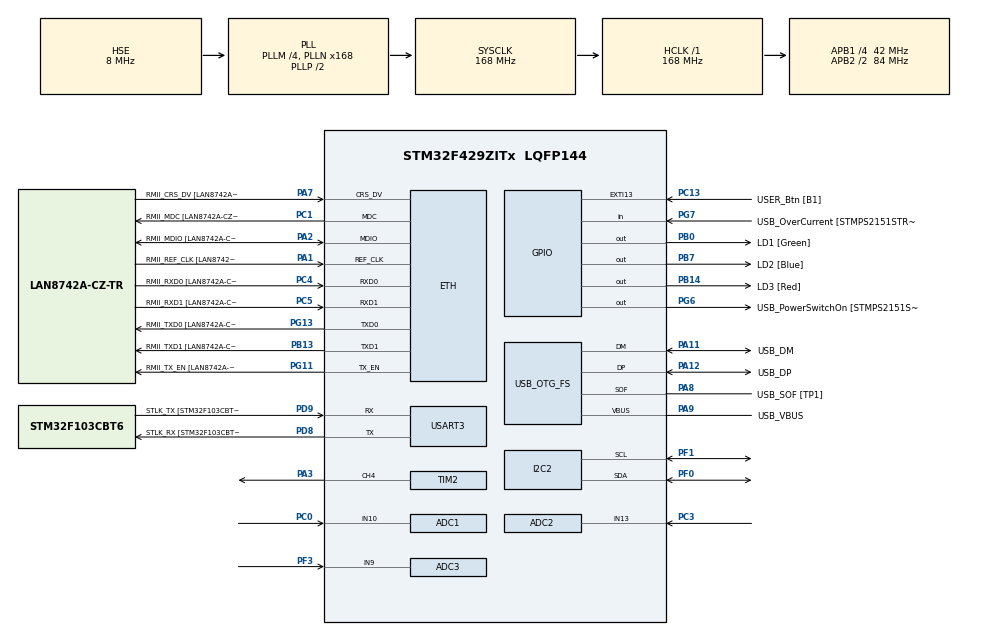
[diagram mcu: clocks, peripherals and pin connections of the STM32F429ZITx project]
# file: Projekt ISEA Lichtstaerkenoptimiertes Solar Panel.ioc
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ADC1.Channel-2\#ChannelRegularConversion=ADC_CHANNEL_10
ADC1.NbrOfConversionFlag=1
ADC1.Rank-2\#ChannelRegularConversion=1
ADC1.SamplingTime-2\#ChannelRegularConversion=ADC_SAMPLETIME_3CYCLES
ADC1.master=1
ADC2.Channel-0\#ChannelRegularConversion=ADC_CHANNEL_13
ADC2.NbrOfConversionFlag=1
ADC2.Rank-0\#ChannelRegularConversion=1
ADC2.SamplingTime-0\#ChannelRegularConversion=ADC_SAMPLETIME_3CYCLES
ADC3.Channel-1\#ChannelRegularConversion=ADC_CHANNEL_9
ADC3.NbrOfConversionFlag=1
ADC3.Rank-1\#ChannelRegularConversion=1
ADC3.SamplingTime-1\#ChannelRegularConversion=ADC_SAMPLETIME_3CYCLES
ETH.MediaInterface=HAL_ETH_RMII_MODE
ETH.PHY_Name=LAN8742A_PHY_ADDRESS
ETH.PHY_Value=0
ETH.PhyAddress=0
Mcu.Family=STM32F4
Mcu.Name=STM32F429ZITx
Mcu.Package=LQFP144
NVIC.PriorityGroup=NVIC_PRIORITYGROUP_4
PA1.GPIO_Label=RMII_REF_CLK [LAN8742A-CZ-TR_REFCLK0]
PA1.Mode=RMII
PA1.Signal=ETH_REF_CLK
PA10.GPIO_Label=USB_ID
PA10.Signal=USB_OTG_FS_ID
PA11.GPIO_Label=USB_DM
PA11.Mode=Device_Only
PA11.Signal=USB_OTG_FS_DM
PA12.GPIO_Label=USB_DP
PA12.Mode=Device_Only
PA12.Signal=USB_OTG_FS_DP
PA13.GPIO_Label=TMS
PA13.Mode=Serial_Wire
PA13.Signal=SYS_JTMS-SWDIO
PA14.GPIO_Label=TCK
PA14.Mode=Serial_Wire
PA14.Signal=SYS_JTCK-SWCLK
PA2.GPIO_Label=RMII_MDIO [LAN8742A-CZ-TR_MDIO]
PA2.Mode=RMII
PA2.Signal=ETH_MDIO
PA3.Signal=S_TIM2_CH4
PA7.GPIO_Label=RMII_CRS_DV [LAN8742A-CZ-TR_CRS_DV]
PA7.Mode=RMII
PA7.Signal=ETH_CRS_DV
PA8.GPIO_Label=USB_SOF [TP1]
PA8.Mode=Activate_SOF_FS
PA8.Signal=USB_OTG_FS_SOF
PA9.GPIO_Label=USB_VBUS
PA9.Mode=Activate_VBUS
PA9.Signal=USB_OTG_FS_VBUS
PB0.GPIO_Label=LD1 [Green]
PB0.Signal=GPIO_Output
PB13.GPIO_Label=RMII_TXD1 [LAN8742A-CZ-TR_TXD1]
PB13.Mode=RMII
PB13.Signal=ETH_TXD1
PB14.GPIO_Label=LD3 [Red]
PB14.Signal=GPIO_Output
PB7.GPIO_Label=LD2 [Blue]
PB7.Signal=GPIO_Output
PC0.Signal=ADCx_IN10
PC1.GPIO_Label=RMII_MDC [LAN8742A-CZ-TR_MDC]
PC1.Mode=RMII
PC1.Signal=ETH_MDC
PC13.GPIO_Label=USER_Btn [B1]
PC13.Signal=GPXTI13
PC14/OSC32_IN.Mode=LSE-External-Oscillator
PC14/OSC32_IN.Signal=RCC_OSC32_IN
PC15/OSC32_OUT.Mode=LSE-External-Oscillator
PC15/OSC32_OUT.Signal=RCC_OSC32_OUT
PC3.Signal=ADCx_IN13
PC4.GPIO_Label=RMII_RXD0 [LAN8742A-CZ-TR_RXD0]
PC4.Mode=RMII
PC4.Signal=ETH_RXD0
PC5.GPIO_Label=RMII_RXD1 [LAN8742A-CZ-TR_RXD1]
PC5.Mode=RMII
PC5.Signal=ETH_RXD1
PD8.GPIO_Label=STLK_RX [STM32F103CBT6_PA3]
PD8.Mode=Asynchronous
PD8.Signal=USART3_TX
PD9.GPIO_Label=STLK_TX [STM32F103CBT6_PA2]
PD9.Mode=Asynchronous
PD9.Signal=USART3_RX
PF0.Mode=I2C
PF0.Signal=I2C2_SDA
PF1.Mode=I2C
PF1.Signal=I2C2_SCL
PF3.Mode=IN9
PF3.Signal=ADC3_IN9
PG11.GPIO_Label=RMII_TX_EN [LAN8742A-CZ-TR_TXEN]
PG11.Mode=RMII
PG11.Signal=ETH_TX_EN
PG13.GPIO_Label=RMII_TXD0 [LAN8742A-CZ-TR_TXD0]
PG13.Mode=RMII
PG13.Signal=ETH_TXD0
PG6.GPIO_Label=USB_PowerSwitchOn [STMPS2151STR_EN]
PG6.Signal=GPIO_Output
PG7.GPIO_Label=USB_OverCurrent [STMPS2151STR_FAULT]
PG7.Signal=GPIO_Input
PH0/OSC_IN.GPIO_Label=MCO [STM32F103CBT6_PA8]
PH0/OSC_IN.Mode=HSE-External-Clock-Source
PH0/OSC_IN.Signal=RCC_OSC_IN
PH1/OSC_OUT.Mode=HSE-External-Clock-Source
PH1/OSC_OUT.Signal=RCC_OSC_OUT
ProjectManager.HeapSize=0x200
ProjectManager.StackSize=0x400
ProjectManager.TargetToolchain=STM32CubeIDE
RCC.48MHZClocksFreq_Value=48000000
RCC.AHBFreq_Value=168000000
RCC.APB1CLKDivider=RCC_HCLK_DIV4
RCC.APB1Freq_Value=42000000
RCC.APB1TimFreq_Value=84000000
RCC.APB2CLKDivider=RCC_HCLK_DIV2
RCC.APB2Freq_Value=84000000
RCC.APB2TimCLKDivider=2
RCC.APB2TimFreq_Value=168000000
RCC.CortexFreq_Value=168000000
RCC.HCLKFreq_Value=168000000
RCC.HSE_VALUE=8000000
RCC.HSI_VALUE=16000000
RCC.PLLM=4
RCC.PLLMUL=RCC_PLL_MUL9
RCC.PLLN=168
RCC.PLLQ=7
RCC.PRESCALERUSB=RCC_USBCLKSOURCE_PLL_DIV1_5
RCC.SYSCLKFreq_VALUE=168000000
RCC.SYSCLKSource=RCC_SYSCLKSOURCE_PLLCLK
RCC.SYSCLKSourceVirtual=RCC_SYSCLKSOURCE_PLLCLK
RCC.USBFreq_Value=48000000
RCC.VCOOutputFreq_Value=336000000
SH.ADCx_IN10.0=ADC1_IN10,IN10
SH.ADCx_IN13.0=ADC2_IN13,IN13
SH.S_TIM2_CH4.0=TIM2_CH4,PWM Generation4 CH4
TIM2.Channel-PWM\ Generation4\ CH4=TIM_CHANNEL_4
TIM2.Period=20000-1
TIM2.Prescaler=84-1
TIM2.Pulse-PWM\ Generation4\ CH4=1500
USART3.VirtualMode=VM_ASYNC
USB_OTG_FS.VirtualMode=Device_Only
VP_TIM1_VS_ClockSourceINT.Mode=Internal
VP_TIM1_VS_ClockSourceITR.Mode=TriggerSource_ITR0
VP_TIM1_VS_ControllerModeReset.Mode=Reset Mode
VP_TIM2_VS_ClockSourceINT.Mode=Internal
board=NUCLEO-F429ZI

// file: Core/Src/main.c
/* USER CODE BEGIN Header */
/**
  ******************************************************************************
  * @file           : main.c
  * @brief          : Main program body
  ******************************************************************************
  * @attention
  *
  * Copyright (c) 2023 STMicroelectronics.
  * All rights reserved.
  *
  * This software is licensed under terms that can be found in the LICENSE file
  * in the root directory of this software component.
  * If no LICENSE file comes with this software, it is provided AS-IS.
  *
  ******************************************************************************
  */
/* USER CODE END Header */
#include "main.h"
#include "string.h"
#include "lcd.h"

/* USER CODE BEGIN Includes */
#include <stdio.h>
#include <stdlib.h>
/* USER CODE END Includes */

ETH_TxPacketConfig TxConfig;
ETH_DMADescTypeDef  DMARxDscrTab[ETH_RX_DESC_CNT]; /* Ethernet Rx DMA Descriptors */
ETH_DMADescTypeDef  DMATxDscrTab[ETH_TX_DESC_CNT]; /* Ethernet Tx DMA Descriptors */

ADC_HandleTypeDef hadc1;
ADC_HandleTypeDef hadc2;
ADC_HandleTypeDef hadc3;

ETH_HandleTypeDef heth;

I2C_HandleTypeDef hi2c2;

TIM_HandleTypeDef htim1;
TIM_HandleTypeDef htim2;
//----------- ben ekledim

PCD_HandleTypeDef hpcd_USB_OTG_FS;

void SystemClock_Config(void);
static void MX_GPIO_Init(void);
static void MX_ETH_Init(void);
static void MX_USART3_UART_Init(void);
static void MX_USB_OTG_FS_PCD_Init(void);
static void MX_ADC1_Init(void);
static void MX_ADC2_Init(void);
static void MX_TIM2_Init(void);
static void MX_I2C2_Init(void);
static void MX_ADC3_Init(void);
static void MX_TIM1_Init(void);
/* USER CODE BEGIN PFP */

//calculate absolute difference

/*  irem verbesserungsversuche
uint32_t calcAbsDif(uint32_t LDR1, uint32_t LDR2) {

	uint32_t absolutDifferenz = abs(LDR1 - LDR2);
	return absolutDifferenz;

}
*/
/* USER CODE END PFP */

/* USER CODE BEGIN 0 */
uint32_t LDR_1_value;
uint32_t LDR_2_value;
uint32_t SP_value;
uint32_t pulseWidth = 1500;

uint32_t elapsedTime;

/* USER CODE END 0 */

int main(void)
{

  /* MCU Configuration--------------------------------------------------------*/

  /* Reset of all peripherals, Initializes the Flash interface and the Systick. */
  HAL_Init();

  /* Configure the system clock */
  SystemClock_Config();

  /* Initialize all configured peripherals */
  MX_GPIO_Init();
  MX_ETH_Init();
  MX_USART3_UART_Init();
  MX_USB_OTG_FS_PCD_Init();
  MX_ADC1_Init();
  MX_ADC2_Init();
  MX_TIM2_Init();
  MX_I2C2_Init();
  MX_ADC3_Init();
  MX_TIM1_Init();
  /* USER CODE BEGIN 2 */

  // Start PWM generation
  HAL_TIM_PWM_Start(&htim2, TIM_CHANNEL_4);

  //set initial servo to 90 degree
  pulseWidth = 1500;

  /* USER CODE END 2 */

  /* Infinite loop */
  /* USER CODE BEGIN WHILE */
  while (1)
  {

	  HAL_TIM_Base_Start(&htim1);

	  // Set PWM pulse width
	  __HAL_TIM_SET_COMPARE(&htim2, TIM_CHANNEL_4, pulseWidth);

	  // Read LDR1 ADC (left)
	  HAL_ADC_Start(&hadc1);
	  if(HAL_ADC_PollForConversion(&hadc1, 1000000) == HAL_OK){
		  LDR_1_value = HAL_ADC_GetValue(&hadc1);
	  }
	  HAL_ADC_Stop(&hadc1);

	  // Read LDR2 ADC (right)
	  HAL_ADC_Start(&hadc2);
	  if(HAL_ADC_PollForConversion(&hadc2, 1000000) == HAL_OK){
		  LDR_2_value = HAL_ADC_GetValue(&hadc2);
	  }
	  HAL_ADC_Stop(&hadc2);

	  //Sensor data comparison and case decision
	  //if(calcAbsDif(LDR_1_value, LDR_2_value) > 500){ // Fall 2: Inoptimal      irem verbesserungsversuche

	  if(abs(LDR_1_value - LDR_2_value) > 100){ // Fall 2: Inoptimal

		  if(LDR_1_value<LDR_2_value){	//light intensity at LDR1 is higher -> rotate CCW -> +=

			  //signal motor to turn clockwise -> only Yellow LD1 is on
			  HAL_GPIO_WritePin(GPIOB, GPIO_PIN_0, GPIO_PIN_SET);
			  HAL_GPIO_WritePin(GPIOB, GPIO_PIN_7, GPIO_PIN_RESET);
			  HAL_GPIO_WritePin(GPIOB, GPIO_PIN_14, GPIO_PIN_RESET);

			  //function to turn the motor One-Step CCW -> if PW not >= 2500, PW += 10
			  if( !(pulseWidth >= 2500) ){
				  pulseWidth += 10;
				  HAL_Delay(500);
			  } else {
				  //at maximum servo angle, turns all lights off and delay
				  HAL_GPIO_WritePin(GPIOB, GPIO_PIN_7, GPIO_PIN_RESET);
				  HAL_GPIO_WritePin(GPIOB, GPIO_PIN_14, GPIO_PIN_RESET);
				  HAL_GPIO_WritePin(GPIOB, GPIO_PIN_0, GPIO_PIN_RESET);
				  HAL_Delay(1000);
			  }

		  } else {   //light intensity at LDR2 is higher -> rotate CW -> -=

			  //signal motor to turn counterclockwise -> Only Red LD3 is on
			  HAL_GPIO_WritePin(GPIOB, GPIO_PIN_14, GPIO_PIN_SET);
			  HAL_GPIO_WritePin(GPIOB, GPIO_PIN_7, GPIO_PIN_RESET);
			  HAL_GPIO_WritePin(GPIOB, GPIO_PIN_0, GPIO_PIN_RESET);

			  //function to turn the motor One-Step clockwise -> if PW not <= 500, PW -= 10
			  if( !(pulseWidth <= 500) ){
				  pulseWidth -= 10;
				  HAL_Delay(500);
			  } else {
				  //at maximum servo angle, turns all lights off and delay
				  HAL_GPIO_WritePin(GPIOB, GPIO_PIN_7, GPIO_PIN_RESET);
				  HAL_GPIO_WritePin(GPIOB, GPIO_PIN_14, GPIO_PIN_RESET);
				  HAL_GPIO_WritePin(GPIOB, GPIO_PIN_0, GPIO_PIN_RESET);
				  HAL_Delay(1000);
			  }

		  }

	  } else {  //Fall 1: Optimal -> Light Intensity at both sensors are within tolerance value

		  //signal motor to stay put -> All LEDs are on
		  HAL_GPIO_WritePin(GPIOB, GPIO_PIN_7, GPIO_PIN_SET);
		  HAL_GPIO_WritePin(GPIOB, GPIO_PIN_14, GPIO_PIN_SET);
		  HAL_GPIO_WritePin(GPIOB, GPIO_PIN_0, GPIO_PIN_SET);
		  HAL_Delay(1000);
	  }

	  // using adc to read Voltage
	  HAL_ADC_Start(&hadc3);
	  HAL_ADC_PollForConversion(&hadc3, HAL_MAX_DELAY);
	  SP_value = HAL_ADC_GetValue(&hadc3);
	  HAL_ADC_Stop(&hadc3);

	  LCD_HandleTypeDef LCD = {LCD_DEFAULT_ADDR, &hi2c2, 1};

	  LCD_Begin(&hi2c2);

	  LCD_SetCursor(&hi2c2, 0, 0);

	  LCD_Test(&hi2c2);

	  HAL_TIM_Base_Stop(&htim1);
	  elapsedTime = __HAL_TIM_GET_COUNTER(&htim1)/1000;

    /* USER CODE END WHILE */

  }
}

void SystemClock_Config(void)
{
  RCC_OscInitTypeDef RCC_OscInitStruct = {0};
  RCC_ClkInitTypeDef RCC_ClkInitStruct = {0};

  /** Configure the main internal regulator output voltage
  */
  __HAL_RCC_PWR_CLK_ENABLE();
  __HAL_PWR_VOLTAGESCALING_CONFIG(PWR_REGULATOR_VOLTAGE_SCALE1);

  /** Initializes the RCC Oscillators according to the specified parameters
  * in the RCC_OscInitTypeDef structure.
  */
  RCC_OscInitStruct.OscillatorType = RCC_OSCILLATORTYPE_HSE;
  RCC_OscInitStruct.HSEState = RCC_HSE_BYPASS;
  RCC_OscInitStruct.PLL.PLLState = RCC_PLL_ON;
  RCC_OscInitStruct.PLL.PLLSource = RCC_PLLSOURCE_HSE;
  RCC_OscInitStruct.PLL.PLLM = 4;
  RCC_OscInitStruct.PLL.PLLN = 168;
  RCC_OscInitStruct.PLL.PLLP = RCC_PLLP_DIV2;
  RCC_OscInitStruct.PLL.PLLQ = 7;
  if (HAL_RCC_OscConfig(&RCC_OscInitStruct) != HAL_OK)
  {
    Error_Handler();
  }

  /** Initializes the CPU, AHB and APB buses clocks
  */
  RCC_ClkInitStruct.ClockType = RCC_CLOCKTYPE_HCLK|RCC_CLOCKTYPE_SYSCLK
                              |RCC_CLOCKTYPE_PCLK1|RCC_CLOCKTYPE_PCLK2;
  RCC_ClkInitStruct.SYSCLKSource = RCC_SYSCLKSOURCE_PLLCLK;
  RCC_ClkInitStruct.AHBCLKDivider = RCC_SYSCLK_DIV1;
  RCC_ClkInitStruct.APB1CLKDivider = RCC_HCLK_DIV4;
  RCC_ClkInitStruct.APB2CLKDivider = RCC_HCLK_DIV2;

  if (HAL_RCC_ClockConfig(&RCC_ClkInitStruct, FLASH_LATENCY_5) != HAL_OK)
  {
    Error_Handler();
  }
}

static void MX_ADC1_Init(void)
{

  ADC_ChannelConfTypeDef sConfig = {0};

  /** Configure the global features of the ADC (Clock, Resolution, Data Alignment and number of conversion)
  */
  hadc1.Instance = ADC1;
  hadc1.Init.ClockPrescaler = ADC_CLOCK_SYNC_PCLK_DIV4;
  hadc1.Init.Resolution = ADC_RESOLUTION_12B;
  hadc1.Init.ScanConvMode = DISABLE;
  hadc1.Init.ContinuousConvMode = DISABLE;
  hadc1.Init.DiscontinuousConvMode = DISABLE;
  hadc1.Init.ExternalTrigConvEdge = ADC_EXTERNALTRIGCONVEDGE_NONE;
  hadc1.Init.ExternalTrigConv = ADC_SOFTWARE_START;
  hadc1.Init.DataAlign = ADC_DATAALIGN_RIGHT;
  hadc1.Init.NbrOfConversion = 1;
  hadc1.Init.DMAContinuousRequests = DISABLE;
  hadc1.Init.EOCSelection = ADC_EOC_SINGLE_CONV;
  if (HAL_ADC_Init(&hadc1) != HAL_OK)
  {
    Error_Handler();
  }

  /** Configure for the selected ADC regular channel its corresponding rank in the sequencer and its sample time.
  */
  sConfig.Channel = ADC_CHANNEL_10;
  sConfig.Rank = 1;
  sConfig.SamplingTime = ADC_SAMPLETIME_3CYCLES;
  if (HAL_ADC_ConfigChannel(&hadc1, &sConfig) != HAL_OK)
  {
    Error_Handler();
  }

}

static void MX_ADC2_Init(void)
{

  ADC_ChannelConfTypeDef sConfig = {0};

  /** Configure the global features of the ADC (Clock, Resolution, Data Alignment and number of conversion)
  */
  hadc2.Instance = ADC2;
  hadc2.Init.ClockPrescaler = ADC_CLOCK_SYNC_PCLK_DIV4;
  hadc2.Init.Resolution = ADC_RESOLUTION_12B;
  hadc2.Init.ScanConvMode = DISABLE;
  hadc2.Init.ContinuousConvMode = DISABLE;
  hadc2.Init.DiscontinuousConvMode = DISABLE;
  hadc2.Init.ExternalTrigConvEdge = ADC_EXTERNALTRIGCONVEDGE_NONE;
  hadc2.Init.ExternalTrigConv = ADC_SOFTWARE_START;
  hadc2.Init.DataAlign = ADC_DATAALIGN_RIGHT;
  hadc2.Init.NbrOfConversion = 1;
  hadc2.Init.DMAContinuousRequests = DISABLE;
  hadc2.Init.EOCSelection = ADC_EOC_SINGLE_CONV;
  if (HAL_ADC_Init(&hadc2) != HAL_OK)
  {
    Error_Handler();
  }

  /** Configure for the selected ADC regular channel its corresponding rank in the sequencer and its sample time.
  */
  sConfig.Channel = ADC_CHANNEL_13;
  sConfig.Rank = 1;
  sConfig.SamplingTime = ADC_SAMPLETIME_3CYCLES;
  if (HAL_ADC_ConfigChannel(&hadc2, &sConfig) != HAL_OK)
  {
    Error_Handler();
  }

}

static void MX_ADC3_Init(void)
{

  ADC_ChannelConfTypeDef sConfig = {0};

  /** Configure the global features of the ADC (Clock, Resolution, Data Alignment and number of conversion)
  */
  hadc3.Instance = ADC3;
  hadc3.Init.ClockPrescaler = ADC_CLOCK_SYNC_PCLK_DIV4;
  hadc3.Init.Resolution = ADC_RESOLUTION_12B;
  hadc3.Init.ScanConvMode = DISABLE;
  hadc3.Init.ContinuousConvMode = DISABLE;
  hadc3.Init.DiscontinuousConvMode = DISABLE;
  hadc3.Init.ExternalTrigConvEdge = ADC_EXTERNALTRIGCONVEDGE_NONE;
  hadc3.Init.ExternalTrigConv = ADC_SOFTWARE_START;
  hadc3.Init.DataAlign = ADC_DATAALIGN_RIGHT;
  hadc3.Init.NbrOfConversion = 1;
  hadc3.Init.DMAContinuousRequests = DISABLE;
  hadc3.Init.EOCSelection = ADC_EOC_SINGLE_CONV;
  if (HAL_ADC_Init(&hadc3) != HAL_OK)
  {
    Error_Handler();
  }

  /** Configure for the selected ADC regular channel its corresponding rank in the sequencer and its sample time.
  */
  sConfig.Channel = ADC_CHANNEL_9;
  sConfig.Rank = 1;
  sConfig.SamplingTime = ADC_SAMPLETIME_3CYCLES;
  if (HAL_ADC_ConfigChannel(&hadc3, &sConfig) != HAL_OK)
  {
    Error_Handler();
  }

}

static void MX_ETH_Init(void)
{

   static uint8_t MACAddr[6];

  heth.Instance = ETH;
  MACAddr[0] = 0x00;
  MACAddr[1] = 0x80;
  MACAddr[2] = 0xE1;
  MACAddr[3] = 0x00;
  MACAddr[4] = 0x00;
  MACAddr[5] = 0x00;
  heth.Init.MACAddr = &MACAddr[0];
  heth.Init.MediaInterface = HAL_ETH_RMII_MODE;
  heth.Init.TxDesc = DMATxDscrTab;
  heth.Init.RxDesc = DMARxDscrTab;
  heth.Init.RxBuffLen = 1524;

  if (HAL_ETH_Init(&heth) != HAL_OK)
  {
    Error_Handler();
  }

  memset(&TxConfig, 0 , sizeof(ETH_TxPacketConfig));
  TxConfig.Attributes = ETH_TX_PACKETS_FEATURES_CSUM | ETH_TX_PACKETS_FEATURES_CRCPAD;
  TxConfig.ChecksumCtrl = ETH_CHECKSUM_IPHDR_PAYLOAD_INSERT_PHDR_CALC;
  TxConfig.CRCPadCtrl = ETH_CRC_PAD_INSERT;

}

static void MX_I2C2_Init(void)
{

  hi2c2.Instance = I2C2;
  hi2c2.Init.ClockSpeed = 100000;
  hi2c2.Init.DutyCycle = I2C_DUTYCYCLE_2;
  hi2c2.Init.OwnAddress1 = 0;
  hi2c2.Init.AddressingMode = I2C_ADDRESSINGMODE_7BIT;
  hi2c2.Init.DualAddressMode = I2C_DUALADDRESS_DISABLE;
  hi2c2.Init.OwnAddress2 = 0;
  hi2c2.Init.GeneralCallMode = I2C_GENERALCALL_DISABLE;
  hi2c2.Init.NoStretchMode = I2C_NOSTRETCH_DISABLE;
  if (HAL_I2C_Init(&hi2c2) != HAL_OK)
  {
    Error_Handler();
  }

  /** Configure Analogue filter
  */
  if (HAL_I2CEx_ConfigAnalogFilter(&hi2c2, I2C_ANALOGFILTER_ENABLE) != HAL_OK)
  {
    Error_Handler();
  }

  /** Configure Digital filter
  */
  if (HAL_I2CEx_ConfigDigitalFilter(&hi2c2, 0) != HAL_OK)
  {
    Error_Handler();
  }

}

static void MX_TIM1_Init(void)
{

  TIM_ClockConfigTypeDef sClockSourceConfig = {0};
  TIM_SlaveConfigTypeDef sSlaveConfig = {0};
  TIM_MasterConfigTypeDef sMasterConfig = {0};

  htim1.Instance = TIM1;
  htim1.Init.Prescaler = 0;
  htim1.Init.CounterMode = TIM_COUNTERMODE_UP;
  htim1.Init.Period = 65535;
  htim1.Init.ClockDivision = TIM_CLOCKDIVISION_DIV1;
  htim1.Init.RepetitionCounter = 0;
  htim1.Init.AutoReloadPreload = TIM_AUTORELOAD_PRELOAD_DISABLE;
  if (HAL_TIM_Base_Init(&htim1) != HAL_OK)
  {
    Error_Handler();
  }
  sClockSourceConfig.ClockSource = TIM_CLOCKSOURCE_INTERNAL;
  if (HAL_TIM_ConfigClockSource(&htim1, &sClockSourceConfig) != HAL_OK)
  {
    Error_Handler();
  }
  sSlaveConfig.SlaveMode = TIM_SLAVEMODE_RESET;
  sSlaveConfig.InputTrigger = TIM_TS_ITR0;
  if (HAL_TIM_SlaveConfigSynchro(&htim1, &sSlaveConfig) != HAL_OK)
  {
    Error_Handler();
  }
  sMasterConfig.MasterOutputTrigger = TIM_TRGO_RESET;
  sMasterConfig.MasterSlaveMode = TIM_MASTERSLAVEMODE_DISABLE;
  if (HAL_TIMEx_MasterConfigSynchronization(&htim1, &sMasterConfig) != HAL_OK)
  {
    Error_Handler();
  }

}

static void MX_TIM2_Init(void)
{

  TIM_ClockConfigTypeDef sClockSourceConfig = {0};
  TIM_MasterConfigTypeDef sMasterConfig = {0};
  TIM_OC_InitTypeDef sConfigOC = {0};

  htim2.Instance = TIM2;
  htim2.Init.Prescaler = 84-1;
  htim2.Init.CounterMode = TIM_COUNTERMODE_UP;
  htim2.Init.Period = 20000-1;
  htim2.Init.ClockDivision = TIM_CLOCKDIVISION_DIV1;
  htim2.Init.AutoReloadPreload = TIM_AUTORELOAD_PRELOAD_DISABLE;
  if (HAL_TIM_Base_Init(&htim2) != HAL_OK)
  {
    Error_Handler();
  }
  sClockSourceConfig.ClockSource = TIM_CLOCKSOURCE_INTERNAL;
  if (HAL_TIM_ConfigClockSource(&htim2, &sClockSourceConfig) != HAL_OK)
  {
    Error_Handler();
  }
  if (HAL_TIM_PWM_Init(&htim2) != HAL_OK)
  {
    Error_Handler();
  }
  sMasterConfig.MasterOutputTrigger = TIM_TRGO_RESET;
  sMasterConfig.MasterSlaveMode = TIM_MASTERSLAVEMODE_DISABLE;
  if (HAL_TIMEx_MasterConfigSynchronization(&htim2, &sMasterConfig) != HAL_OK)
  {
    Error_Handler();
  }
  sConfigOC.OCMode = TIM_OCMODE_PWM1;
  sConfigOC.Pulse = 1500;
  sConfigOC.OCPolarity = TIM_OCPOLARITY_HIGH;
  sConfigOC.OCFastMode = TIM_OCFAST_DISABLE;
  if (HAL_TIM_PWM_ConfigChannel(&htim2, &sConfigOC, TIM_CHANNEL_4) != HAL_OK)
  {
    Error_Handler();
  }
  HAL_TIM_MspPostInit(&htim2);

}

static void MX_USART3_UART_Init(void)
{

  huart3.Instance = USART3;
  huart3.Init.BaudRate = 115200;
  huart3.Init.WordLength = UART_WORDLENGTH_8B;
  huart3.Init.StopBits = UART_STOPBITS_1;
  huart3.Init.Parity = UART_PARITY_NONE;
  huart3.Init.Mode = UART_MODE_TX_RX;
  huart3.Init.HwFlowCtl = UART_HWCONTROL_NONE;
  huart3.Init.OverSampling = UART_OVERSAMPLING_16;
  if (HAL_UART_Init(&huart3) != HAL_OK)
  {
    Error_Handler();
  }

}

static void MX_USB_OTG_FS_PCD_Init(void)
{

  hpcd_USB_OTG_FS.Instance = USB_OTG_FS;
  hpcd_USB_OTG_FS.Init.dev_endpoints = 4;
  hpcd_USB_OTG_FS.Init.speed = PCD_SPEED_FULL;
  hpcd_USB_OTG_FS.Init.dma_enable = DISABLE;
  hpcd_USB_OTG_FS.Init.phy_itface = PCD_PHY_EMBEDDED;
  hpcd_USB_OTG_FS.Init.Sof_enable = ENABLE;
  hpcd_USB_OTG_FS.Init.low_power_enable = DISABLE;
  hpcd_USB_OTG_FS.Init.lpm_enable = DISABLE;
  hpcd_USB_OTG_FS.Init.vbus_sensing_enable = ENABLE;
  hpcd_USB_OTG_FS.Init.use_dedicated_ep1 = DISABLE;
  if (HAL_PCD_Init(&hpcd_USB_OTG_FS) != HAL_OK)
  {
    Error_Handler();
  }

}

static void MX_GPIO_Init(void)
{
  GPIO_InitTypeDef GPIO_InitStruct = {0};

  /* GPIO Ports Clock Enable */
  __HAL_RCC_GPIOC_CLK_ENABLE();
  __HAL_RCC_GPIOF_CLK_ENABLE();
  __HAL_RCC_GPIOH_CLK_ENABLE();
  __HAL_RCC_GPIOA_CLK_ENABLE();
  __HAL_RCC_GPIOB_CLK_ENABLE();
  __HAL_RCC_GPIOD_CLK_ENABLE();
  __HAL_RCC_GPIOG_CLK_ENABLE();

  /*Configure GPIO pin Output Level */
  HAL_GPIO_WritePin(GPIOB, LD1_Pin|LD3_Pin|LD2_Pin, GPIO_PIN_RESET);

  /*Configure GPIO pin Output Level */
  HAL_GPIO_WritePin(USB_PowerSwitchOn_GPIO_Port, USB_PowerSwitchOn_Pin, GPIO_PIN_RESET);

  /*Configure GPIO pin : USER_Btn_Pin */
  GPIO_InitStruct.Pin = USER_Btn_Pin;
  GPIO_InitStruct.Mode = GPIO_MODE_IT_RISING;
  GPIO_InitStruct.Pull = GPIO_NOPULL;
  HAL_GPIO_Init(USER_Btn_GPIO_Port, &GPIO_InitStruct);

  /*Configure GPIO pins : LD1_Pin LD3_Pin LD2_Pin */
  GPIO_InitStruct.Pin = LD1_Pin|LD3_Pin|LD2_Pin;
  GPIO_InitStruct.Mode = GPIO_MODE_OUTPUT_PP;
  GPIO_InitStruct.Pull = GPIO_NOPULL;
  GPIO_InitStruct.Speed = GPIO_SPEED_FREQ_LOW;
  HAL_GPIO_Init(GPIOB, &GPIO_InitStruct);

  /*Configure GPIO pin : USB_PowerSwitchOn_Pin */
  GPIO_InitStruct.Pin = USB_PowerSwitchOn_Pin;
  GPIO_InitStruct.Mode = GPIO_MODE_OUTPUT_PP;
  GPIO_InitStruct.Pull = GPIO_NOPULL;
  GPIO_InitStruct.Speed = GPIO_SPEED_FREQ_LOW;
  HAL_GPIO_Init(USB_PowerSwitchOn_GPIO_Port, &GPIO_InitStruct);

  /*Configure GPIO pin : USB_OverCurrent_Pin */
  GPIO_InitStruct.Pin = USB_OverCurrent_Pin;
  GPIO_InitStruct.Mode = GPIO_MODE_INPUT;
  GPIO_InitStruct.Pull = GPIO_NOPULL;
  HAL_GPIO_Init(USB_OverCurrent_GPIO_Port, &GPIO_InitStruct);

}

void Error_Handler(void)
{
  __disable_irq();
  while (1)
  {
  }
}
